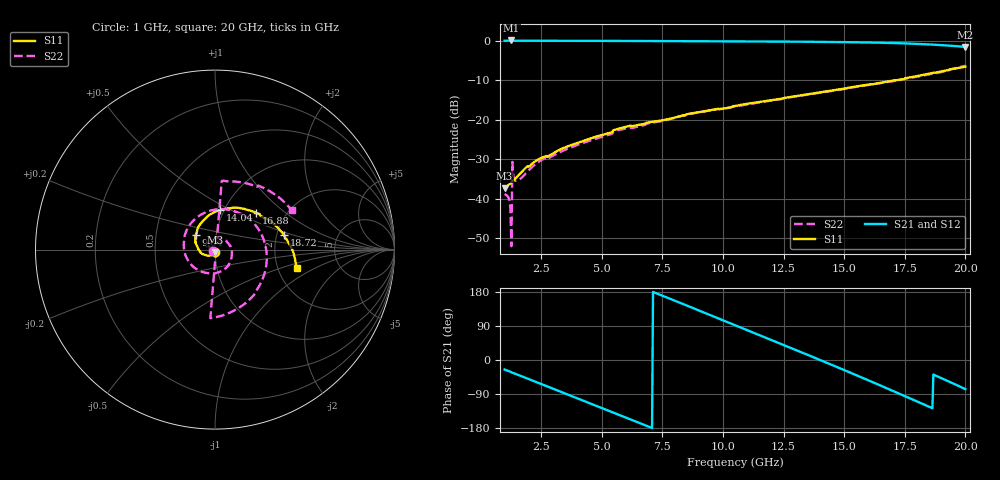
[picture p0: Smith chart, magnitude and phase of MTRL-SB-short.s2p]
! Multiline TRL de-embedded results
! Powered by MTRL v0.1 based on Matlab. Written by Simon.
! 29-Mar-2016 20:38:35
# hz S ma R 50
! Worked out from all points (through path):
!   476 points, 1 GHz to 20 GHz, reference 50 ohm
!   highest |S21| = 0.04 dB at 1.28 GHz (marker M1); lowest = -1.6 dB at 20 GHz (marker M2)
!   lowest |S11| = -37.4 dB at 1 GHz (marker M3), VSWR 1.03, Z = 50.1 - j1.35 ohm
!   |S11| at or under -10 dB: start of sweep to 17.12 GHz; 17.12872 GHz to 17.17149 GHz (42.76 MHz wide, 0.249 % of centre)
!   |S22| runs from -52.0 to -6.4 dB; largest |S21 - S12| = 0
!   S11 on the Smith chart (normalised r, x): 1 GHz: 1.00, -0.03; 9.64 GHz: 0.80, +0.13; 14.04 GHz: 0.96, +0.44; 16.88 GHz: 1.42, +0.65; 18.72 GHz: 2.20, +0.42; 20 GHz: 2.54, -0.68
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1e9  0.0135 -84.2  0.9983 -25.2  0.9983 -25.2  0.01145 -151.0
1.16e9  0.01494 -88.3  0.9988 -29.2  0.9988 -29.2  0.01037 -156.7
1.2e9  0.01531 -89.1  0.9992 -30.2  0.9992 -30.2  0.00954 -158.6
1.28e9  0.0161 -90.5  1.005 -32.1  1.005 -32.1  0.002512 -47.2
1.4e9  0.01744 -92.4  0.9965 -35.4  0.9965 -35.4  0.01761 -158.2
2.84e9  0.03507 -120.9  0.9945 -71.7  0.9945 -71.7  0.03302 155.7
4.2e9  0.0534 -141.5  0.9937 -106.2  0.9937 -106.2  0.05042 109.4
5.88e9  0.07951 -165.5  0.9908 -149.0  0.9908 -149.0  0.07611 48.5
7.36e9  0.0964 173.4  0.9884 173.4  0.9884 173.4  0.09456 -6.6
8.4e9  0.1141 161.1  0.9864 146.7  0.9864 146.7  0.1136 -47.8
9.64e9  0.1345 143.4  0.9834 114.6  0.9834 114.6  0.1338 -94.1
1.052e10  0.1495 131.3  0.981 91.7  0.981 91.7  0.1471 -127.6
1.196e10  0.1753 111.3  0.9757 54.1  0.9757 54.1  0.1738 176.3
1.368e10  0.2135 88.0  0.9667 8.7  0.9667 8.7  0.2117 108.8
1.404e10  0.2222 82.8  0.9643 -0.8  0.9643 -0.8  0.2199 94.7
1.532e10  0.2578 65.2  0.9541 -35.2  0.9541 -35.2  0.255 43.4
1.684e10  0.3053 42.9  0.935 -76.8  0.935 -76.8  0.3004 -19.0
1.688e10  0.3069 42.3  0.9342 -77.9  0.9342 -77.9  0.3019 -20.6
1.856e10  0.3843 14.8  0.8936 -125.0  0.8936 -125.0  0.3782 -90.4
1.872e10  0.394 12.0  0.888 -39.6  0.888 -39.6  0.3869 82.7
1.876e10  0.393 11.1  0.889 -40.8  0.889 -40.8  0.3859 80.5
2e10  0.4672 -13.0  0.8327 -76.9  0.8327 -76.9  0.4798 27.0
